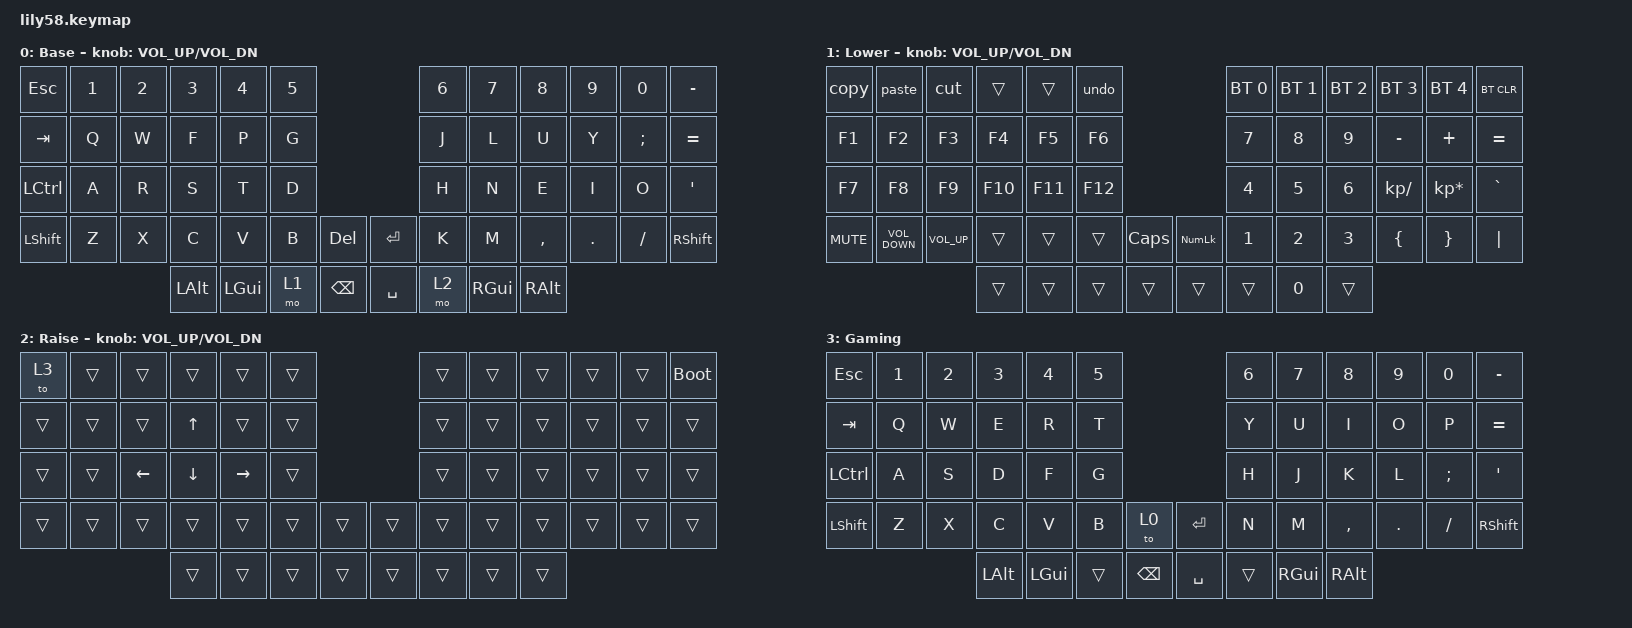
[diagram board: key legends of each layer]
/*
 * Copyright (c) 2020 The ZMK Contributors
 *
 * SPDX-License-Identifier: MIT
 */

#include <behaviors.dtsi>
#include <dt-bindings/zmk/bt.h>
#include <dt-bindings/zmk/keys.h>

/ {
    macros {
        copy: copy {
            compatible = "zmk,behavior-macro";
            #binding-cells = <0>;
            bindings = <&kp LC(C)>;
            label = "COPY";
        };

        paste: paste {
            compatible = "zmk,behavior-macro";
            #binding-cells = <0>;
            bindings = <&kp LC(V)>;
            label = "PASTE";
        };

        cut: cut {
            compatible = "zmk,behavior-macro";
            #binding-cells = <0>;
            bindings = <&kp LC(X)>;
            label = "CUT";
        };

        undo: undo {
            compatible = "zmk,behavior-macro";
            #binding-cells = <0>;
            bindings = <&kp LC(Z)>;
            label = "UNDO";
        };
    };

    keymap {
        compatible = "zmk,keymap";

        Typing {
            // ------------------------------------------------------------------------------------------------------------
            // |  ESC  |  1  |  2  |  3   |  4   |  5   |                   |  6   |  7    |  8    |  9   |   0   |   `   |
            // |  TAB  |  Q  |  W  |  E   |  R   |  T   |                   |  Y   |  U    |  I    |  O   |   P   |   -   |
            // |  CTRL |  A  |  S  |  D   |  F   |  G   |                   |  H   |  J    |  K    |  L   |   ;   |   '   |
            // | SHIFT |  Z  |  X  |  C   |  V   |  B   |   "["  |  |  "]"  |  N   |  M    |  ,    |  .   |   /   | SHIFT |
            //                     | ALT  | GUI  | LOWER|  SPACE |  | ENTER | RAISE| BSPC  | GUI   |

            display-name = "Base";
            bindings = <
&kp ESC    &kp N1  &kp N2  &kp N3    &kp N4    &kp N5                              &kp N6  &kp N7    &kp N8         &kp N9   &kp N0         &kp MINUS
&kp TAB    &kp Q   &kp W   &kp F     &kp P     &kp G                               &kp J   &kp L     &kp U          &kp Y    &kp SEMICOLON  &kp EQUAL
&kp LCTRL  &kp A   &kp R   &kp S     &kp T     &kp D                               &kp H   &kp N     &kp E          &kp I    &kp O          &kp SQT
&kp LSHFT  &kp Z   &kp X   &kp C     &kp V     &kp B   &kp DELETE       &kp RET    &kp K   &kp M     &kp COMMA      &kp DOT  &kp FSLH       &kp RSHFT
                           &kp LALT  &kp LGUI  &mo 1   &kp BACKSPACE    &kp SPACE  &mo 2   &kp RGUI  &kp RIGHT_ALT
            >;

            sensor-bindings = <&inc_dec_kp C_VOL_UP C_VOL_DN>;
        };

        F_Layer {
            // ------------------------------------------------------------------------------------------------------------
            // | BTCLR | BT1 | BT2 |  BT3 |  BT4 |  BT5 |                   |      |       |       |      |       |       |
            // |  F1   |  F2 |  F3 |  F4  |  F5  |  F6  |                   |  F7  |  F8   |  F9   |  F10 |  F11  |  F12  |
            // |   `   |  !  |  @  |  #   |  $   |  %   |                   |  ^   |  &    |  *    |  (   |   )   |   ~   |
            // |       |     |     |      |      |      |        |  |       |      |  _    |  +    |  {   |   }   |  "|"  |
            //                     |      |      |      |        |  |       |      |       |       |

            display-name = "Lower";
            bindings = <
&copy       &paste             &cut             &trans   &trans   &undo                                &bt BT_SEL 0  &bt BT_SEL 1  &bt BT_SEL 2  &bt BT_SEL 3   &bt BT_SEL 4     &bt BT_CLR
&kp F1      &kp F2             &kp F3           &kp F4   &kp F5   &kp F6                               &kp N7        &kp N8        &kp N9        &kp MINUS      &kp PLUS         &kp EQUAL
&kp F7      &kp F8             &kp F9           &kp F10  &kp F11  &kp F12                              &kp NUMBER_4  &kp N5        &kp NUMBER_6  &kp KP_DIVIDE  &kp KP_MULTIPLY  &kp GRAVE
&kp C_MUTE  &kp C_VOLUME_DOWN  &kp C_VOLUME_UP  &trans   &trans   &trans   &kp CAPS    &kp KP_NUMLOCK  &kp NUMBER_1  &kp NUMBER_2  &kp NUMBER_3  &kp LBRC       &kp RBRC         &kp PIPE
                                                &trans   &trans   &trans   &trans      &trans          &trans        &kp N0        &trans
            >;

            sensor-bindings = <&inc_dec_kp C_VOL_UP C_VOL_DN>;
        };

        Arrows {
            // ------------------------------------------------------------------------------------------------------------
            // |       |     |     |      |      |      |                   |      |       |       |      |       |       |
            // |   `   |  1  |  2  |  3   |  4   |  5   |                   |  6   |   7   |   8   |  9   |   0   |       |
            // |   F1  |  F2 |  F3 |  F4  |  F5  |  F6  |                   |      |   <-  |   v   |  ^   |  ->   |       |
            // |   F7  |  F8 |  F9 |  F10 |  F11 |  F12 |        |  |       |  +   |   -   |   =   |  [   |   ]   |   \   |
            //                     |      |      |      |        |  |       |      |       |       |

            display-name = "Raise";
            bindings = <
&to 3   &trans  &trans          &trans          &trans           &trans                    &trans  &trans  &trans  &trans  &trans  &bootloader
&trans  &trans  &trans          &kp UP_ARROW    &trans           &trans                    &trans  &trans  &trans  &trans  &trans  &trans
&trans  &trans  &kp LEFT_ARROW  &kp DOWN_ARROW  &kp RIGHT_ARROW  &trans                    &trans  &trans  &trans  &trans  &trans  &trans
&trans  &trans  &trans          &trans          &trans           &trans  &trans    &trans  &trans  &trans  &trans  &trans  &trans  &trans
                                &trans          &trans           &trans  &trans    &trans  &trans  &trans  &trans
            >;

            sensor-bindings = <&inc_dec_kp C_VOL_UP C_VOL_DN>;
        };

        Gaming {
            bindings = <
&kp ESC    &kp N1  &kp N2  &kp N3    &kp N4    &kp N5                         &kp N6  &kp N7    &kp N8     &kp N9   &kp N0    &kp MINUS
&kp TAB    &kp Q   &kp W   &kp E     &kp R     &kp T                          &kp Y   &kp U     &kp I      &kp O    &kp P     &kp EQUAL
&kp LCTRL  &kp A   &kp S   &kp D     &kp F     &kp G                          &kp H   &kp J     &kp K      &kp L    &kp SEMI  &kp SQT
&kp LSHFT  &kp Z   &kp X   &kp C     &kp V     &kp B   &to 0       &kp ENTER  &kp N   &kp M     &kp COMMA  &kp DOT  &kp FSLH  &kp RSHFT
                           &kp LALT  &kp LGUI  &trans  &kp BSPC    &kp SPACE  &trans  &kp RGUI  &kp RALT
            >;
        };
    };
};
